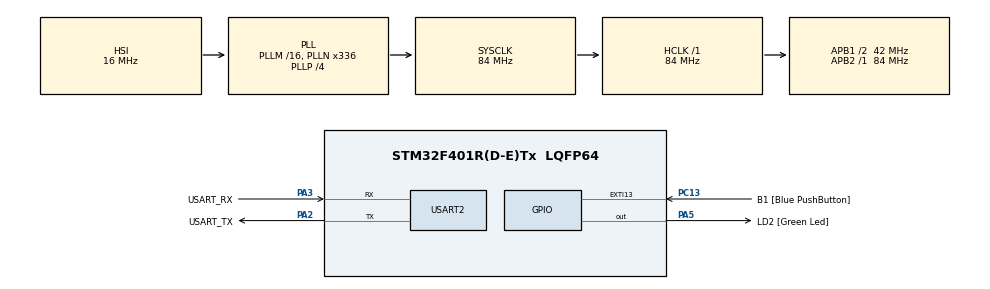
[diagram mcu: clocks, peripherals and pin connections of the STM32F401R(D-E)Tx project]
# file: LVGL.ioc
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Mcu.Family=STM32F4
Mcu.Name=STM32F401R(D-E)Tx
Mcu.Package=LQFP64
NVIC.PriorityGroup=NVIC_PRIORITYGROUP_0
PA13.GPIO_Label=TMS
PA13.Mode=Serial_Wire
PA13.Signal=SYS_JTMS-SWDIO
PA14.GPIO_Label=TCK
PA14.Mode=Serial_Wire
PA14.Signal=SYS_JTCK-SWCLK
PA2.GPIO_Label=USART_TX
PA2.GPIO_Mode=GPIO_MODE_AF_PP
PA2.GPIO_PuPd=GPIO_NOPULL
PA2.GPIO_Speed=GPIO_SPEED_FREQ_LOW
PA2.Mode=Asynchronous
PA2.Signal=USART2_TX
PA3.GPIO_Label=USART_RX
PA3.GPIO_Mode=GPIO_MODE_AF_PP
PA3.GPIO_PuPd=GPIO_NOPULL
PA3.GPIO_Speed=GPIO_SPEED_FREQ_LOW
PA3.Mode=Asynchronous
PA3.Signal=USART2_RX
PA5.GPIO_Label=LD2 [Green Led]
PA5.GPIO_Mode=GPIO_MODE_OUTPUT_PP
PA5.GPIO_PuPd=GPIO_NOPULL
PA5.GPIO_Speed=GPIO_SPEED_FREQ_LOW
PA5.Signal=GPIO_Output
PB3.GPIO_Label=SWO
PB3.Signal=SYS_JTDO-SWO
PC13-ANTI_TAMP.GPIO_Label=B1 [Blue PushButton]
PC13-ANTI_TAMP.GPIO_ModeDefaultEXTI=GPIO_MODE_IT_FALLING
PC13-ANTI_TAMP.GPIO_PuPd=GPIO_NOPULL
PC13-ANTI_TAMP.Signal=GPXTI13
PC14-OSC32_IN.Mode=LSE-External-Oscillator
PC14-OSC32_IN.Signal=RCC_OSC32_IN
PC15-OSC32_OUT.Mode=LSE-External-Oscillator
PC15-OSC32_OUT.Signal=RCC_OSC32_OUT
PH0\ -\ OSC_IN.Mode=HSE-External-Clock-Source
PH0\ -\ OSC_IN.Signal=RCC_OSC_IN
PH1\ -\ OSC_OUT.Mode=HSE-External-Clock-Source
PH1\ -\ OSC_OUT.Signal=RCC_OSC_OUT
ProjectManager.HeapSize=0x200
ProjectManager.StackSize=0x400
ProjectManager.TargetToolchain=STM32CubeIDE
RCC.48MHZClocksFreq_Value=48000000
RCC.AHBFreq_Value=84000000
RCC.APB1CLKDivider=RCC_HCLK_DIV2
RCC.APB1Freq_Value=42000000
RCC.APB1TimFreq_Value=84000000
RCC.APB2Freq_Value=84000000
RCC.APB2TimFreq_Value=84000000
RCC.CortexFreq_Value=84000000
RCC.HCLKFreq_Value=84000000
RCC.HSE_VALUE=8000000
RCC.HSI_VALUE=16000000
RCC.PLLN=336
RCC.PLLP=RCC_PLLP_DIV4
RCC.PLLQ=7
RCC.SYSCLKFreq_VALUE=84000000
RCC.SYSCLKSource=RCC_SYSCLKSOURCE_PLLCLK
RCC.VCOOutputFreq_Value=336000000
USART2.VirtualMode=VM_ASYNC
board=NUCLEO-F401RE

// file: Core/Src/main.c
/* USER CODE BEGIN Header */
/**
 ******************************************************************************
 * @file           : main.c
 * @brief          : Main program body
 ******************************************************************************
 * @attention
 *
 * Copyright (c) 2023 STMicroelectronics.
 * All rights reserved.
 *
 * This software is licensed under terms that can be found in the LICENSE file
 * in the root directory of this software component.
 * If no LICENSE file comes with this software, it is provided AS-IS.
 *
 ******************************************************************************
 */
/* USER CODE END Header */
#include "main.h"

/* USER CODE BEGIN Includes */
#include "BML_DEF.h"
#include "uart.h"
#include "st7783.h"
#include "lame_ui.h"
/* USER CODE END Includes */

UART_HandleTypeDef huart2;

/* USER CODE BEGIN PV */
// [Mandatory] Display buffer. Buffer pixel count must be multiple of Horizontal Resolution
#define DISP_BUFF_PX_CNT (TFTHEIGHT * 10)
uint16_t disp_buffer[DISP_BUFF_PX_CNT];
// [Mandatory] LameUI memory. Here we are giving it 2KB to work with.
uint8_t lameui_memory[2000];
/* USER CODE END PV */

void SystemClock_Config(void);
static void MX_GPIO_Init(void);
static void MX_USART2_UART_Init(void);
/* USER CODE BEGIN PFP */
//----------- callback function prototypes ------------
void my_draw_disp_buff_cb(uint16_t *disp_buff, lui_area_t *area);
void my_input_read_cb(lui_touch_input_data_t *input);
void button_1_cb(lui_obj_t *button_obj);
//-----------------------------------------------------
/* USER CODE END PFP */

int main(void) {

	/* MCU Configuration--------------------------------------------------------*/

	/* Reset of all peripherals, Initializes the Flash interface and the Systick. */
	HAL_Init();

	/* Configure the system clock */
	SystemClock_Config();

	/* Initialize all configured peripherals */
	MX_GPIO_Init();
	MX_USART2_UART_Init();
	/* USER CODE BEGIN 2 */
	print("Working\r\n");

  LCD_Begin();
//  LCD_SetRotation(1);
//  colorgradient(0, 0, TFTWIDTH, TFTHEIGHT, 50);
  LCD_FillScreen(BLACK);
//  int i = 0;

	lui_init(lameui_memory, sizeof(lameui_memory));

	//----------------------------------------------------------
	//[Mandatory] creating display driver object
	lui_dispdrv_t *my_display_driver = lui_dispdrv_create();
	lui_dispdrv_register(my_display_driver);
	lui_dispdrv_set_resolution(my_display_driver, TFTHEIGHT, TFTWIDTH);
	lui_dispdrv_set_disp_buff(my_display_driver, disp_buffer, DISP_BUFF_PX_CNT);
	lui_dispdrv_set_draw_disp_buff_cb(my_display_driver, my_draw_disp_buff_cb);

	lui_obj_t *scene_1 = lui_scene_create();
	// [Mandatory] A scene must be set as active scene. Only the active scene
	// is rendered.
	lui_scene_set_active(scene_1);

	// Create a label
	lui_obj_t *label_1 = lui_label_create();
	// [Mandatory] An object must have a parent which is either a `scene` or a
	// descendent of `scene`.
	lui_object_add_to_parent(label_1, scene_1);
	lui_object_set_position(label_1, 5, 50);
	lui_label_set_text(label_1, "This is Label 1. Below is Button 1");

	// Create a button
	lui_obj_t *button_1 = lui_button_create();
	// [Mandatory] Add a parent
	lui_object_add_to_parent(button_1, scene_1);
	lui_object_set_area(button_1, 110, 40);
	lui_object_set_position(button_1, 65, 100);
	lui_button_set_label_text(button_1, "Button 1");
	lui_object_set_callback(button_1, button_1_cb);

	/* USER CODE END 2 */

	/* Infinite loop */
	/* USER CODE BEGIN WHILE */
	while (1) {
		print("Running\r\n");
//	  LCD_SetCursor(20, 20);
//	  LCD_SetTextColor(WHITE, RED);
//	  LCD_Printf("Count: %d", i++);
//	  Delay(1000);
		/* USER CODE END WHILE */

		/* USER CODE BEGIN 3 */
		lui_update();
		Delay(15);
	}
	/* USER CODE END 3 */
}

void SystemClock_Config(void) {
	RCC_OscInitTypeDef RCC_OscInitStruct = { 0 };
	RCC_ClkInitTypeDef RCC_ClkInitStruct = { 0 };

	/** Configure the main internal regulator output voltage
	 */
	__HAL_RCC_PWR_CLK_ENABLE();
	__HAL_PWR_VOLTAGESCALING_CONFIG(PWR_REGULATOR_VOLTAGE_SCALE2);

	/** Initializes the RCC Oscillators according to the specified parameters
	 * in the RCC_OscInitTypeDef structure.
	 */
	RCC_OscInitStruct.OscillatorType = RCC_OSCILLATORTYPE_HSI;
	RCC_OscInitStruct.HSIState = RCC_HSI_ON;
	RCC_OscInitStruct.HSICalibrationValue = RCC_HSICALIBRATION_DEFAULT;
	RCC_OscInitStruct.PLL.PLLState = RCC_PLL_ON;
	RCC_OscInitStruct.PLL.PLLSource = RCC_PLLSOURCE_HSI;
	RCC_OscInitStruct.PLL.PLLM = 16;
	RCC_OscInitStruct.PLL.PLLN = 336;
	RCC_OscInitStruct.PLL.PLLP = RCC_PLLP_DIV4;
	RCC_OscInitStruct.PLL.PLLQ = 7;
	if (HAL_RCC_OscConfig(&RCC_OscInitStruct) != HAL_OK) {
		Error_Handler();
	}

	/** Initializes the CPU, AHB and APB buses clocks
	 */
	RCC_ClkInitStruct.ClockType = RCC_CLOCKTYPE_HCLK | RCC_CLOCKTYPE_SYSCLK
			| RCC_CLOCKTYPE_PCLK1 | RCC_CLOCKTYPE_PCLK2;
	RCC_ClkInitStruct.SYSCLKSource = RCC_SYSCLKSOURCE_PLLCLK;
	RCC_ClkInitStruct.AHBCLKDivider = RCC_SYSCLK_DIV1;
	RCC_ClkInitStruct.APB1CLKDivider = RCC_HCLK_DIV2;
	RCC_ClkInitStruct.APB2CLKDivider = RCC_HCLK_DIV1;

	if (HAL_RCC_ClockConfig(&RCC_ClkInitStruct, FLASH_LATENCY_2) != HAL_OK) {
		Error_Handler();
	}
}

static void MX_USART2_UART_Init(void) {

	huart2.Instance = USART2;
	huart2.Init.BaudRate = 115200;
	huart2.Init.WordLength = UART_WORDLENGTH_8B;
	huart2.Init.StopBits = UART_STOPBITS_1;
	huart2.Init.Parity = UART_PARITY_NONE;
	huart2.Init.Mode = UART_MODE_TX_RX;
	huart2.Init.HwFlowCtl = UART_HWCONTROL_NONE;
	huart2.Init.OverSampling = UART_OVERSAMPLING_16;
	if (HAL_UART_Init(&huart2) != HAL_OK) {
		Error_Handler();
	}

}

static void MX_GPIO_Init(void) {
	GPIO_InitTypeDef GPIO_InitStruct = { 0 };

	/* GPIO Ports Clock Enable */
	__HAL_RCC_GPIOC_CLK_ENABLE();
	__HAL_RCC_GPIOH_CLK_ENABLE();
	__HAL_RCC_GPIOA_CLK_ENABLE();
	__HAL_RCC_GPIOB_CLK_ENABLE();

	/*Configure GPIO pin Output Level */
	HAL_GPIO_WritePin(LD2_GPIO_Port, LD2_Pin, GPIO_PIN_RESET);

	/*Configure GPIO pin : B1_Pin */
	GPIO_InitStruct.Pin = B1_Pin;
	GPIO_InitStruct.Mode = GPIO_MODE_IT_FALLING;
	GPIO_InitStruct.Pull = GPIO_NOPULL;
	HAL_GPIO_Init(B1_GPIO_Port, &GPIO_InitStruct);

	/*Configure GPIO pin : LD2_Pin */
	GPIO_InitStruct.Pin = LD2_Pin;
	GPIO_InitStruct.Mode = GPIO_MODE_OUTPUT_PP;
	GPIO_InitStruct.Pull = GPIO_NOPULL;
	GPIO_InitStruct.Speed = GPIO_SPEED_FREQ_LOW;
	HAL_GPIO_Init(LD2_GPIO_Port, &GPIO_InitStruct);

}

/* USER CODE BEGIN 4 */
//----------- callback function definitions ------------
void my_draw_disp_buff_cb(uint16_t *disp_buff, lui_area_t *area) {
	uint16_t x = area->x;	// start x
	uint16_t y = area->y;	// start y
	uint16_t w = area->w;	// width
	uint16_t h = area->h;	// height
//    display_draw_buffer(disp_buff, x, y, w, h);
	LCD_SetAddrWindow(x, y, w, h);
	LCD_pushColors(disp_buff, (area->w * area->h), 1);
}

void button_1_cb(lui_obj_t *button_obj) {
	// Get the event of callback
	int8_t event = lui_object_get_event(button_obj);
	if (event == -1)
		return;

	if (event == LUI_EVENT_PRESSED) {
		// Button is pressed. Do something
		print("Button 1 is pressed\r\n");
	} else if (event == LUI_EVENT_RELEASED) {
		// Button is released. Do something
		print("Button 1 is released\r\n");
	}
}
/* USER CODE END 4 */

void Error_Handler(void) {
	__disable_irq();
	while (1) {
	}
}
